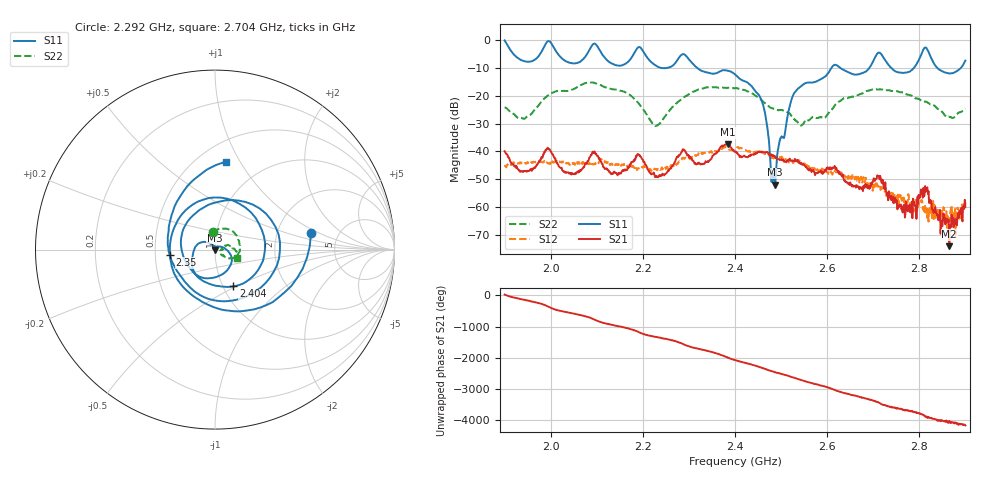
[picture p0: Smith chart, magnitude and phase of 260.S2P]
! C:\Users\rflab\Downloads\Lab5_KD_ZW\260.S2P
! Touchstone 1.1 file saved by VNA.EXE V1.65 (www.ke5fx.com/gpib/readme.htm)
! 11/12/2024 12:26:36 AM
!  Source: HEWLETT PACKARD,8753D,0,6.14
!  Min freq: 1.900000E+009 Hz
!  Max freq: 2.900000E+009 Hz
!  Points: 801
!  Params: S11 S21 S12 S22
# GHZ S RI R 50
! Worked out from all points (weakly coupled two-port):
!   801 points, 1.9 GHz to 2.9 GHz, reference 50 ohm
!   highest |S21| = -37.41 dB at 2.384 GHz (marker M1); lowest = -74.2 dB at 2.865 GHz (marker M2)
!   lowest |S11| = -52.1 dB at 2.486 GHz (marker M3), VSWR 1.01, Z = 50 - j0.25 ohm
!   |S11| at or under -10 dB: 2.319 GHz to 2.609 GHz (290.3 MHz wide, 11.8 % of centre); 2.629 GHz to 2.691 GHz (61.72 MHz wide, 2.32 % of centre); 2.84 GHz to 2.89 GHz (49.98 MHz wide, 1.74 % of centre) (the widest 3 of 4)
!   |S22| runs from -30.8 to -15.1 dB; largest |S21 - S12| = 0.0055
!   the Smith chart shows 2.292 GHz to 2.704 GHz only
!   S11 on the Smith chart (normalised r, x): 2.292 GHz: 3.14, +0.81; 2.35 GHz: 0.60, -0.04; 2.404 GHz: 1.12, -0.48; 2.704 GHz: 0.67, +0.87
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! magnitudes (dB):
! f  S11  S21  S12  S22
! 1.9 GHz  0.0  -39.9  -45.4  -24.1
! 1.944 GHz  -7.5  -47.0  -44.3  -28.2
! 1.994 GHz  -0.3  -38.7  -44.3  -19.8
! 2.067 GHz  -7.2  -46.4  -44.5  -16.0
! 2.19 GHz  -2.5  -41.1  -46.1  -22.5
! 2.234 GHz  -9.6  -49.3  -46.5  -30.3
! 2.292 GHz  -5.3  -39.9  -42.3  -20.1
! 2.35 GHz  -12.0  -42.2  -40.5  -16.9
! 2.384 GHz  -10.9  -37.4  -39.0  -17.1
! 2.4 GHz  -12.2  -40.1  -39.4  -17.2
! 2.404 GHz  -12.8  -40.6  -38.6  -17.2
! 2.458 GHz  -21.6  -40.3  -40.1  -21.5
! 2.481 GHz  -50.0  -41.6  -42.5  -24.5
! 2.486 GHz  -52.1  -41.7  -42.4  -24.7
! 2.525 GHz  -20.2  -43.3  -43.4  -27.8
! 2.567 GHz  -15.2  -46.9  -46.3  -27.6
! 2.704 GHz  -6.1  -50.7  -52.2  -17.6
! 2.734 GHz  -8.9  -54.4  -55.9  -18.0
! 2.78 GHz  -11.1  -62.0  -59.8  -19.7
! 2.814 GHz  -2.5  -54.5  -62.9  -22.1
! 2.865 GHz  -11.9  -74.2  -65.3  -27.6
! 2.9 GHz  -7.2  -59.9  -58.5  -24.5
